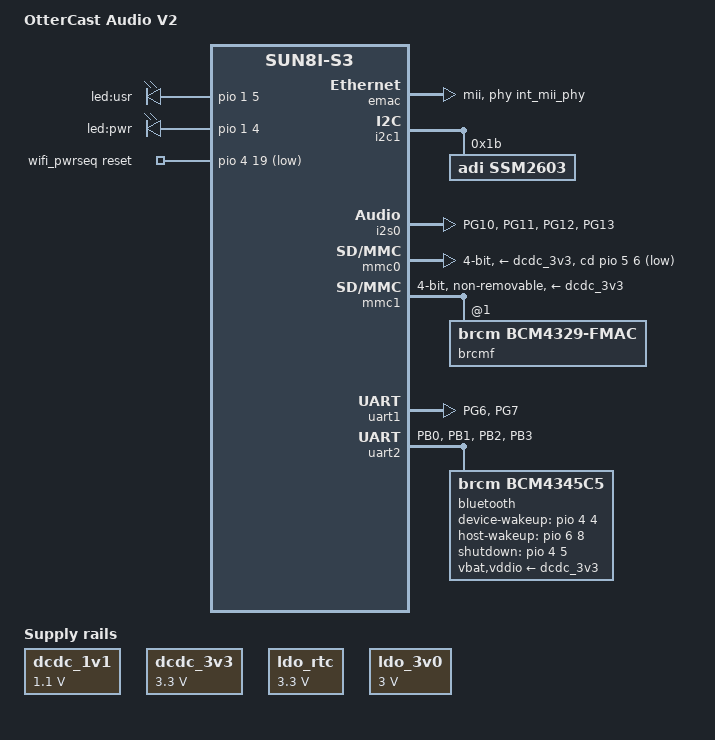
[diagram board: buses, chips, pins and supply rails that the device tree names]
// SPDX-License-Identifier: (GPL-2.0+ OR X11)
/*
 * Copyright 2021 Tobias Schramm <t.schramm@t-sys.eu>
 */

/dts-v1/;
#include "sun8i-v3.dtsi"
#include <dt-bindings/gpio/gpio.h>
#include <dt-bindings/input/input.h>

/ {
	model = "OtterCast Audio V2";
	compatible = "jhh,ottercast-audio-v2", "allwinner,sun8i-s3";

	aliases {
		serial0 = &uart1;
	};

	chosen {
		stdout-path = "serial0:115200n8";
	};

	leds {
		compatible = "gpio-leds";

		led1 {
			label = "led:usr";
			gpios = <&pio 1 5 GPIO_ACTIVE_HIGH>; /* PB5 */
		};

		led2 {
			label = "led:pwr";
			gpios = <&pio 1 4 GPIO_ACTIVE_HIGH>; /* PB4 */
			default-state = "on";
		};
	};

	dcdc_1v1: dcdc-1v1 {
		compatible = "regulator-fixed";
		regulator-always-on;
		regulator-name = "dcdc-3v3";
		regulator-min-microvolt = <1100000>;
		regulator-max-microvolt = <1100000>;
	};

	dcdc_3v3: dcdc-3v3 {
		compatible = "regulator-fixed";
		regulator-always-on;
		regulator-name = "dcdc-3v3";
		regulator-min-microvolt = <3300000>;
		regulator-max-microvolt = <3300000>;
	};

	ldo_rtc: ldo-rtc {
		compatible = "regulator-fixed";
		regulator-always-on;
		regulator-name = "ldo-rtc";
		regulator-min-microvolt = <3300000>;
		regulator-max-microvolt = <3300000>;
	};

	ldo_3v0: ldo-3v0 {
		compatible = "regulator-fixed";
		regulator-always-on;
		regulator-name = "ldo-3v0";
		regulator-min-microvolt = <3000000>;
		regulator-max-microvolt = <3000000>;
	};

	i2s_clk: i2s_clk {
		#clock-cells = <0>;
		compatible = "fixed-clock";
		clock-frequency = <12288000>;
		clock-output-names = "i2s_clk";
	};

	sound {
		compatible = "simple-audio-card";
		simple-audio-card,name = "Otter-Audio-Card";
		simple-audio-card,format = "i2s";
		simple-audio-card,bitclock-master = <&dailink0_master>;
		simple-audio-card,frame-master = <&dailink0_master>;
		simple-audio-card,widgets =
			"Microphone", "Microphone Jack",
			"Headphone", "Headphone Jack",
			"Line", "Line In Jack";
		simple-audio-card,routing =
			"MICIN", "Microphone Jack",
			"Headphone Jack", "LHPOUT",
			"Headphone Jack", "RHPOUT",
			"LLINEIN", "Line In Jack",
			"RLINEIN", "Line In Jack";
		dailink0_master: simple-audio-card,cpu {
			clocks = <&i2s_clk>;
			sound-dai = <&i2s0>;
		};
		simple-audio-card,codec {
			clocks = <&i2s_clk>;
			sound-dai = <&ssm2603>;
		};
	};

	wifi_pwrseq: wifi_pwrseq {
		compatible = "mmc-pwrseq-simple";
		reset-gpios = <&pio 4 19 GPIO_ACTIVE_LOW>; /* PE19 WL-PMU-EN */
		clocks = <&rtc 1>;
		clock-names = "ext_clock";
		post-power-on-delay-ms = <200>;
	};
};

&emac {
	phy-handle = <&int_mii_phy>;
	phy-mode = "mii";
	status = "okay";
};

&i2c1 {
	status = "okay";

	pinctrl-names = "default";
	pinctrl-0 = <&i2c1_pe_pins>;

	ssm2603: ssm2603@1b{
		#sound-dai-cells = <0>;
		compatible = "adi,ssm2603";
		reg = <0x1b>;
	};
};

&i2s0 {
	status = "okay";

	pinctrl-names = "default";
	pinctrl-0 = <&i2s0_pins>;
};

&mmc0 {
	vmmc-supply = <&dcdc_3v3>;
	bus-width = <4>;
	cd-gpios = <&pio 5 6 GPIO_ACTIVE_LOW>;
	status = "okay";
};

&mmc1 {
	vmmc-supply = <&dcdc_3v3>;
	vqmmc-supply = <&dcdc_3v3>;
	mmc-pwrseq = <&wifi_pwrseq>;
	bus-width = <4>;
	non-removable;
	no-1-8-v;
	cap-sd-highspeed;
	status = "okay";

	brcmf: wifi@1 {
		reg = <1>;
		compatible = "brcm,bcm4329-fmac";
	};
};

&pio {
	vcc-pd-supply = <&dcdc_3v3>;
	vcc-pe-supply = <&dcdc_3v3>;
};

&uart1 {
	status = "okay";

	pinctrl-names = "default";
	pinctrl-0 = <&uart1_pg_pins>;
};

&uart2 {
	status = "okay";
	pinctrl-names = "default";
	pinctrl-0 = <&uart2_pins>;
	uart-has-rtscts;

	bluetooth {
		compatible = "brcm,bcm4345c5";
		clocks = <&rtc 1>;
		clock-names = "lpo";
		device-wakeup-gpios = <&pio 4 4 GPIO_ACTIVE_HIGH>;
		host-wakeup-gpios = <&pio 6 8 GPIO_ACTIVE_HIGH>;
		max-speed = <1500000>;
		shutdown-gpios = <&pio 4 5 GPIO_ACTIVE_HIGH>;
		vbat-supply = <&dcdc_3v3>;
		vddio-supply = <&dcdc_3v3>;
	};
};

&pio {
	uart1_pg_pins: uart1-pg-pins {
		pins = "PG6", "PG7";
		function = "uart1";
	};

	i2s0_pins: i2s0-pins {
		pins = "PG10", "PG11", "PG12", "PG13";
		function = "i2s";
	};

	uart2_pins: uart2-pins {
		/* TX, RX, RTS, CTS */
		pins = "PB0", "PB1", "PB2", "PB3";
		function = "uart2";
	};
};
